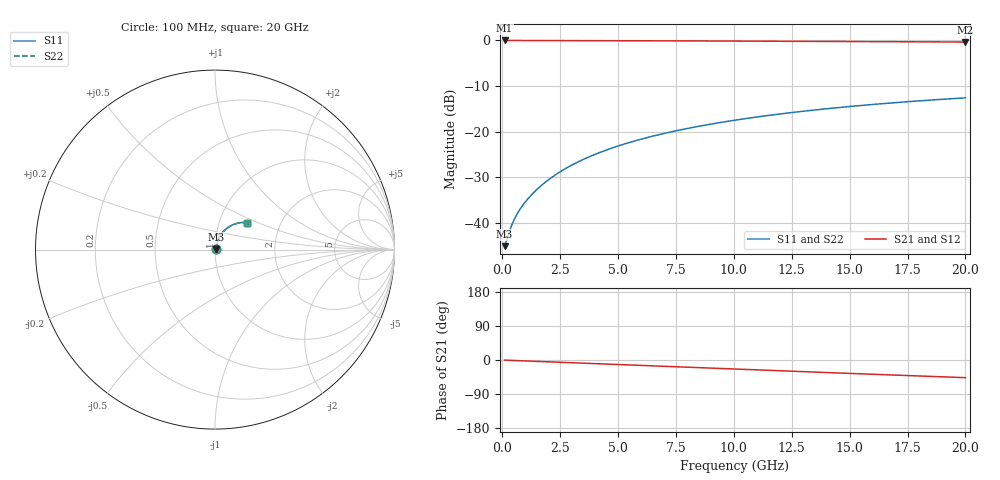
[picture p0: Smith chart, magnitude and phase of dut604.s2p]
! Touchstone file exported from HFSS 2026.1.0
!  File:  C:/ffzhzh/LocalFiles/Ansys_Project_Files/temp_train_BSMRDL_604_1783016106_53980.aedt
!  Generated:  02:16:25 AM Jul  3, 2026
!  Design:  BSMRDL
!  Project:  temp_train_BSMRDL_604_1783016106_53980
! Variables:
!  h_bsmrdl = 2.2um
!  h_ox = 20um
!  h_rdl = 5um
!  h_sub = 80um
!  h_tmrdl = 5um
!  h_tsv = 80um
!  h_via = 3um
!  l_bsmrdl = 779.24um
!  l_sub = 1179.24um
!  l_tmrdl = 200um
!  m_sub = 200um
!  pitch = 35.5um
!  r_tsv = 6um
!  s_tmrdl = 10um
!  w_bsmrdl = 25.45um
!  w_sub = 500um
!  w_tmrdl = 12um
!  x_tsv_center1 = 206um
!  x_tsv_center2 = 1010.69um
!  x_tsv_center3 = 1222.69um
!  x_tsv_center4 = 2027.38um
!  x_tsv_center5 = 2239.38um
!  x_tsv_center6 = 3044.07um
# GHz S MA R 50.000000
! Terminal data exported
! Port[1] = BSM_RDL1_1_T1
! Port[2] = BSM_RDL1_1_T2
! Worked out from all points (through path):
!   200 points, 100 MHz to 20 GHz, reference 50 ohm
!   highest |S21| = -0.05 dB at 100 MHz (marker M1); lowest = -0.4 dB at 20 GHz (marker M2)
!   group delay of S21, straight-line fit = 6.48 ps
!   lowest |S11| = -45.0 dB at 100 MHz (marker M3), VSWR 1.01, Z = 50.5 + j0.192 ohm
!   |S11| at or under -10 dB: start of sweep to end of sweep
!   |S22| runs from -45.0 to -12.6 dB; largest |S21 - S12| = 2.9e-15
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0.1  0.005593 19.8  0.9947 -0.3  0.9947 -0.3  0.005593 19.8
! Gamma 0 0 0 0
! Port Impedance 50 0 50 0
0.3  0.007988 42.5  0.9942 -0.8  0.9942 -0.8  0.007988 42.5
0.4  0.009379 47.9  0.9938 -1.0  0.9938 -1.0  0.00938 47.9
0.5  0.01075 51.6  0.9935 -1.3  0.9935 -1.3  0.01075 51.6
0.6  0.01207 54.3  0.9932 -1.5  0.9932 -1.5  0.01207 54.3
0.7  0.01336 56.5  0.9929 -1.8  0.9929 -1.8  0.01336 56.5
0.9  0.01588 59.9  0.9925 -2.3  0.9925 -2.3  0.01588 59.9
1.2  0.01962 63.7  0.9921 -3.0  0.9921 -3.0  0.01962 63.6
1.7  0.02598 67.6  0.9916 -4.2  0.9916 -4.2  0.02598 67.6
2.2  0.03249 69.8  0.9912 -5.3  0.9912 -5.3  0.03249 69.8
2.8  0.04043 71.1  0.9907 -6.8  0.9907 -6.8  0.04043 71.0
3.5  0.04976 71.4  0.99 -8.5  0.99 -8.5  0.04976 71.4
4.2  0.0591 71.2  0.9893 -10.1  0.9893 -10.1  0.0591 71.1
5  0.06972 70.4  0.9883 -12.0  0.9883 -12.0  0.06972 70.3
5.9  0.08156 69.1  0.9871 -14.2  0.9871 -14.2  0.08156 69.0
6.8  0.09324 67.6  0.9857 -16.3  0.9857 -16.3  0.09324 67.5
8.3  0.1123 64.8  0.983 -19.9  0.983 -19.9  0.1123 64.7
10.1  0.1342 61.1  0.9794 -24.1  0.9794 -24.1  0.1342 61.0
11.7  0.1529 57.7  0.9759 -27.8  0.9759 -27.8  0.1529 57.6
13.4  0.1717 54.1  0.972 -31.7  0.972 -31.7  0.1717 53.9
16.7  0.2052 46.9  0.9641 -39.3  0.9641 -39.3  0.2052 46.7
20  0.2343 39.8  0.9563 -46.7  0.9563 -46.7  0.2343 39.6
